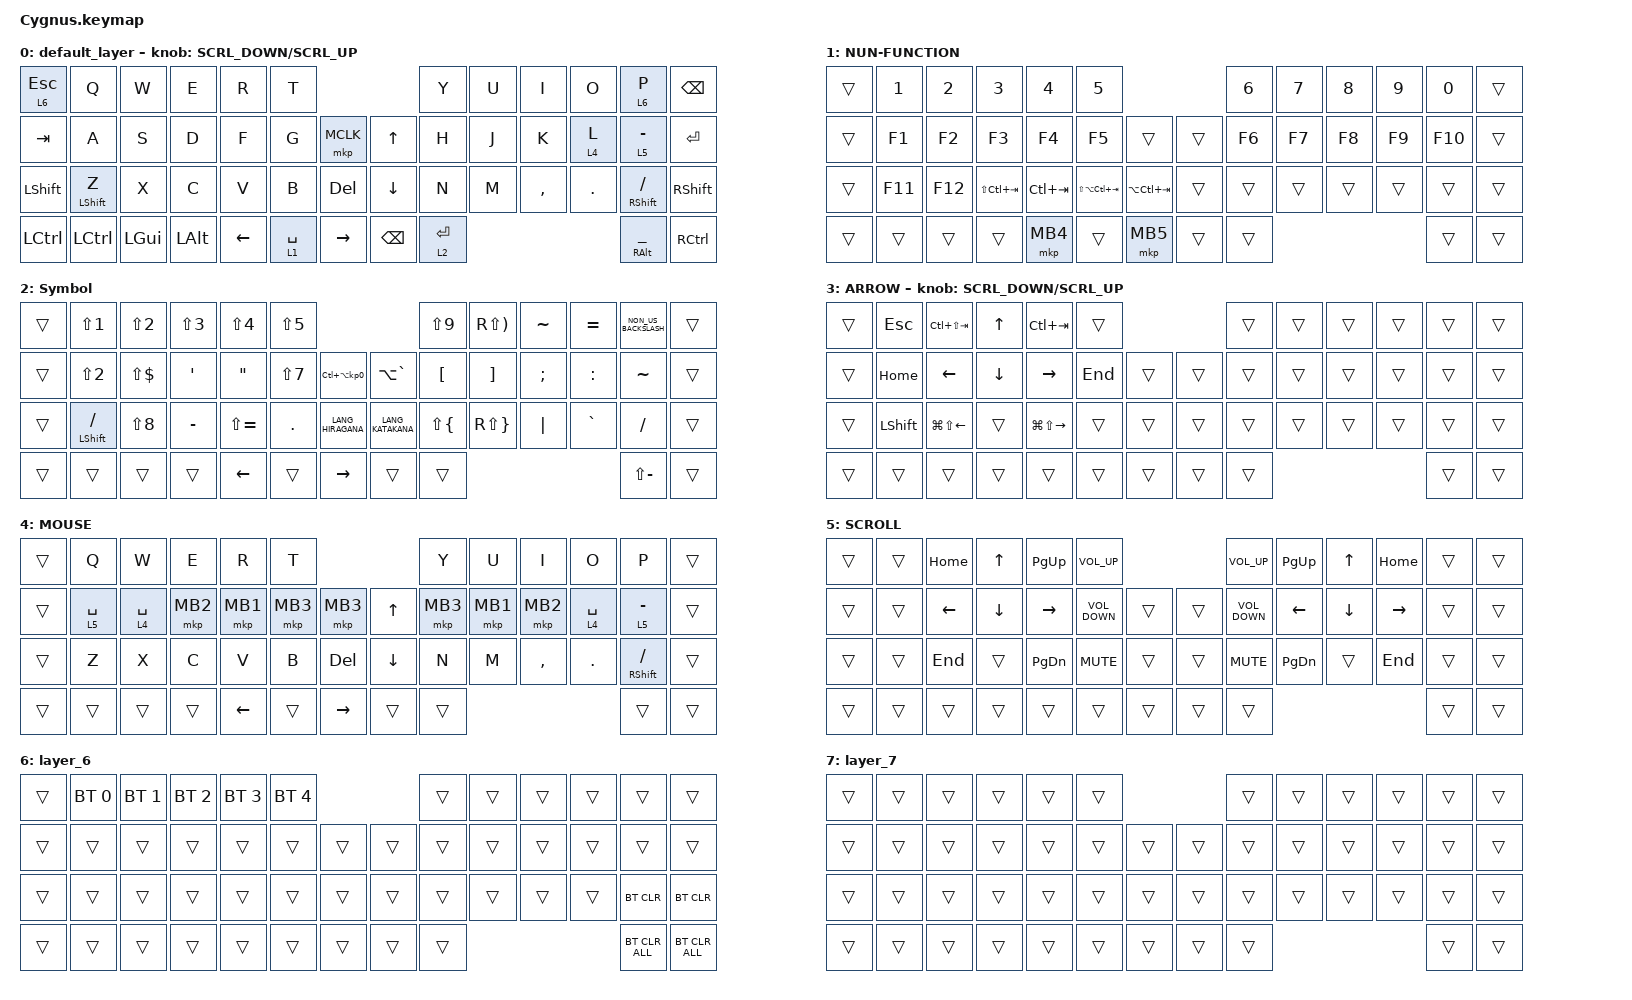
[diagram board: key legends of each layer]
#define ZMK_POINTING_DEFAULT_SCRL_VAL 120    // default: 10

#include <behaviors.dtsi>
#include <dt-bindings/zmk/bt.h>
#include <dt-bindings/zmk/keys.h>
#include <dt-bindings/zmk/pointing.h>

#define MOUSE 4
#define SCROLL 5
#define NUM 6

&mt {
    flavor = "balanced";
    quick-tap-ms = <0>;
};

/ {
    combos {
        compatible = "zmk,combos";

        Escape {
            bindings = <&kp ESCAPE>;
            key-positions = <1 2>;
        };

        TAb.combo {
            bindings = <&kp TAB>;
            key-positions = <13 14>;
        };

        cntll {
            bindings = <&kp LCTRL>;
            key-positions = <41 42>;
        };

        lsft {
            bindings = <&kp LSHFT>;
            key-positions = <27 28>;
        };

        mouse1 {
            bindings = <&mkp LCLK>;
            key-positions = <21 22>;
        };

        mouse2 {
            bindings = <&mkp RCLK>;
            key-positions = <22 23>;
        };

        mouse3 {
            bindings = <&mkp MCLK>;
            key-positions = <21 23>;
        };

        eaual {
            bindings = <&kp EQUAL>;
            key-positions = <10 9>;
        };

        shift.tab {
            bindings = <&kp LS(TAB)>;
            key-positions = <14 15>;
        };

        exclamation {
            bindings = <&kp EXCLAMATION>;
            key-positions = <6 7>;
        };

        hatena {
            bindings = <&kp QUESTION>;
            key-positions = <38 37>;
        };
    };

    macros {
        to_layer_0: to_layer_0 {
            compatible = "zmk,behavior-macro-one-param";
            #binding-cells = <1>;
            bindings = <&to 0 &macro_param_1to1 &kp MACRO_PLACEHOLDER>;
            label = "TO_LAYER_0";
        };
    };

    behaviors {
        lt_to_layer_0: lt_to_layer_0 {
            compatible = "zmk,behavior-hold-tap";
            label = "LAYER_TAP_TO_0";
            bindings = <&mo>, <&to_layer_0>;

            #binding-cells = <2>;
            tapping-term-ms = <200>;
        };

        ROTATE: ROTATE {
            compatible = "zmk,behavior-sensor-rotate-var";
            label = "ROTATE";
            #sensor-binding-cells = <2>;
            bindings = <&msc>, <&msc>;

            tap-ms = <20>;
        };
    };

    keymap {
        compatible = "zmk,keymap";

        default_layer {
            bindings = <
&lt 6 ESC  &kp Q             &kp W         &kp E         &kp R     &kp T                                     &kp Y        &kp U  &kp I      &kp O    &lt 6 P                   &kp BSPC
&kp TAB    &kp A             &kp S         &kp D         &kp F     &kp G        &mkp MCLK    &kp UP_ARROW    &kp H        &kp J  &kp K      &lt 4 L  &lt 5 MINUS               &kp ENTER
&kp LSHFT  &mt LEFT_SHIFT Z  &kp X         &kp C         &kp V     &kp B        &kp DEL      &kp DOWN_ARROW  &kp N        &kp M  &kp COMMA  &kp DOT  &mt RSHFT SLASH           &kp RSHFT
&kp LCTRL  &kp LEFT_CONTROL  &kp LEFT_GUI  &kp LEFT_ALT  &kp LEFT  &lt 1 SPACE  &kp RIGHT    &kp BACKSPACE   &lt 2 ENTER                             &mt RIGHT_ALT UNDERSCORE  &kp RCTRL
            >;

            sensor-bindings = <&ROTATE SCRL_DOWN SCRL_UP>;
        };

        NUN-FUNCTION {
            bindings = <
&trans  &kp NUMBER_1  &kp NUMBER_2  &kp NUMBER_3     &kp N4       &kp N5                                          &kp NUMBER_6  &kp N7  &kp N8  &kp N9  &kp N0   &trans
&trans  &kp F1        &kp F2        &kp F3           &kp F4       &kp F5               &trans             &trans  &kp F6        &kp F7  &kp F8  &kp F9  &kp F10  &trans
&trans  &kp F11       &kp F12       &kp LS(LC(TAB))  &kp LC(TAB)  &kp LS(LA(LC(TAB)))  &kp LA(LC(TAB))    &trans  &trans        &trans  &trans  &trans  &trans   &trans
&trans  &trans        &trans        &trans           &mkp MB4     &trans               &mkp MB5           &trans  &trans                                &trans   &trans
            >;
        };

        Symbol {
            bindings = <
&trans  &kp LS(NUMBER_1)      &kp LS(NUMBER_2)  &kp LS(NUMBER_3)  &kp LS(NUMBER_4)   &kp LS(N5)                                                &kp LS(N9)          &kp RS(RIGHT_PARENTHESIS)  &kp TILDE      &kp EQUAL  &kp NON_US_BACKSLASH  &trans
&trans  &kp LS(NUMBER_2)      &kp LS(DOLLAR)    &kp SQT           &kp DOUBLE_QUOTES  &kp LS(N7)  &kp LC(LA(KP_NUMBER_0))    &kp LA(GRAVE)      &kp LEFT_BRACKET    &kp RBKT                   &kp SEMICOLON  &kp COLON  &kp TILDE             &trans
&trans  &mt LEFT_SHIFT SLASH  &kp LS(N8)        &kp MINUS         &kp LS(EQUAL)      &kp PERIOD  &kp LANG_HIRAGANA          &kp LANG_KATAKANA  &kp LS(LEFT_BRACE)  &kp RS(RBRC)               &kp PIPE       &kp GRAVE  &kp SLASH             &trans
&trans  &trans                &trans            &trans            &kp LEFT           &trans      &kp RIGHT                  &trans             &trans                                                                   &kp LS(MINUS)         &trans
            >;
        };

        ARROW {
            bindings = <
&trans  &kp ESCAPE      &kp LC(LS(TAB))         &kp UP_ARROW    &kp LC(TAB)              &trans                     &trans  &trans  &trans  &trans  &trans  &trans
&trans  &kp HOME        &kp LEFT_ARROW          &kp DOWN_ARROW  &kp RIGHT_ARROW          &kp END  &trans    &trans  &trans  &trans  &trans  &trans  &trans  &trans
&trans  &kp LEFT_SHIFT  &kp LG(LS(LEFT_ARROW))  &trans          &kp LG(LS(RIGHT_ARROW))  &trans   &trans    &trans  &trans  &trans  &trans  &trans  &trans  &trans
&trans  &trans          &trans                  &trans          &trans                   &trans   &trans    &trans  &trans                          &trans  &trans
            >;

            sensor-bindings = <&ROTATE SCRL_DOWN SCRL_UP>;
        };

        MOUSE {
            bindings = <
&trans  &kp Q        &kp W        &kp E     &kp R           &kp T                                   &kp Y     &kp U     &kp I      &kp O        &kp P             &trans
&trans  &lt 5 SPACE  &lt 4 SPACE  &mkp MB2  &mkp MB1        &mkp MB3  &mkp MB3      &kp UP_ARROW    &mkp MB3  &mkp MB1  &mkp MB2   &lt 4 SPACE  &lt 5 MINUS       &trans
&trans  &kp Z        &kp X        &kp C     &kp V           &kp B     &kp DELETE    &kp DOWN_ARROW  &kp N     &kp M     &kp COMMA  &kp DOT      &mt RSHIFT SLASH  &trans
&trans  &trans       &trans       &trans    &kp LEFT_ARROW  &trans    &kp RIGHT     &trans          &trans                                      &trans            &trans
            >;
        };

        SCROLL {
            bindings = <
&trans  &trans  &kp HOME        &kp UP          &kp PAGE_UP    &kp C_VOLUME_UP                      &kp C_VOLUME_UP    &kp PAGE_UP     &kp UP_ARROW    &kp HOME   &trans  &trans
&trans  &trans  &kp LEFT_ARROW  &kp DOWN_ARROW  &kp RIGHT      &kp C_VOLUME_DOWN  &trans    &trans  &kp C_VOLUME_DOWN  &kp LEFT_ARROW  &kp DOWN_ARROW  &kp RIGHT  &trans  &trans
&trans  &trans  &kp END         &trans          &kp PAGE_DOWN  &kp K_MUTE         &trans    &trans  &kp K_MUTE         &kp PAGE_DOWN   &trans          &kp END    &trans  &trans
&trans  &trans  &trans          &trans          &trans         &trans             &trans    &trans  &trans                                                        &trans  &trans
            >;
        };

        layer_6 {
            bindings = <
&trans  &bt BT_SEL 0  &bt BT_SEL 1  &bt BT_SEL 2  &bt BT_SEL 3  &bt BT_SEL 4                    &trans  &trans  &trans  &trans  &trans          &trans
&trans  &trans        &trans        &trans        &trans        &trans        &trans    &trans  &trans  &trans  &trans  &trans  &trans          &trans
&trans  &trans        &trans        &trans        &trans        &trans        &trans    &trans  &trans  &trans  &trans  &trans  &bt BT_CLR      &bt BT_CLR
&trans  &trans        &trans        &trans        &trans        &trans        &trans    &trans  &trans                          &bt BT_CLR_ALL  &bt BT_CLR_ALL
            >;
        };

        layer_7 {
            bindings = <
&trans  &trans  &trans  &trans  &trans  &trans                    &trans  &trans  &trans  &trans  &trans  &trans
&trans  &trans  &trans  &trans  &trans  &trans  &trans    &trans  &trans  &trans  &trans  &trans  &trans  &trans
&trans  &trans  &trans  &trans  &trans  &trans  &trans    &trans  &trans  &trans  &trans  &trans  &trans  &trans
&trans  &trans  &trans  &trans  &trans  &trans  &trans    &trans  &trans                          &trans  &trans
            >;
        };
    };
};
